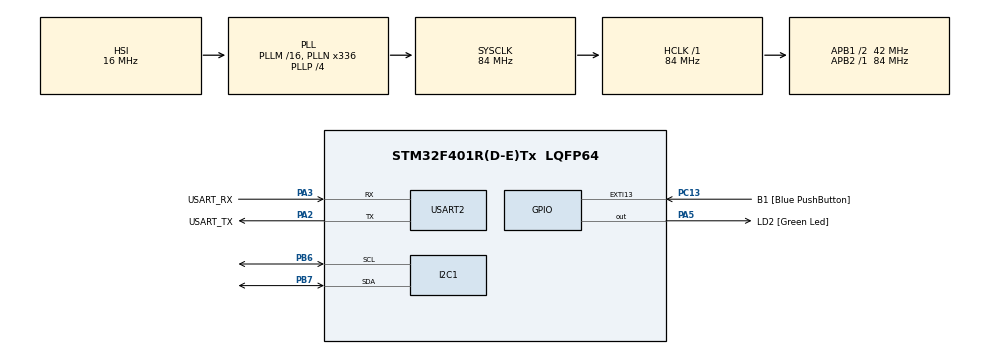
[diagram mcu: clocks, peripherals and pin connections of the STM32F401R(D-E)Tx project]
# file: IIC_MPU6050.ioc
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Mcu.Family=STM32F4
Mcu.Name=STM32F401R(D-E)Tx
Mcu.Package=LQFP64
NVIC.PriorityGroup=NVIC_PRIORITYGROUP_4
PA13.GPIO_Label=TMS
PA13.Mode=Serial_Wire
PA13.Signal=SYS_JTMS-SWDIO
PA14.GPIO_Label=TCK
PA14.Mode=Serial_Wire
PA14.Signal=SYS_JTCK-SWCLK
PA2.GPIO_Label=USART_TX
PA2.GPIO_Mode=GPIO_MODE_AF_PP
PA2.GPIO_PuPd=GPIO_NOPULL
PA2.GPIO_Speed=GPIO_SPEED_FREQ_LOW
PA2.Mode=Asynchronous
PA2.Signal=USART2_TX
PA3.GPIO_Label=USART_RX
PA3.GPIO_Mode=GPIO_MODE_AF_PP
PA3.GPIO_PuPd=GPIO_NOPULL
PA3.GPIO_Speed=GPIO_SPEED_FREQ_LOW
PA3.Mode=Asynchronous
PA3.Signal=USART2_RX
PA5.GPIO_Label=LD2 [Green Led]
PA5.GPIO_Mode=GPIO_MODE_OUTPUT_PP
PA5.GPIO_PuPd=GPIO_NOPULL
PA5.GPIO_Speed=GPIO_SPEED_FREQ_LOW
PA5.Signal=GPIO_Output
PB3.GPIO_Label=SWO
PB3.Signal=SYS_JTDO-SWO
PB6.Mode=I2C
PB6.Signal=I2C1_SCL
PB7.Mode=I2C
PB7.Signal=I2C1_SDA
PC13-ANTI_TAMP.GPIO_Label=B1 [Blue PushButton]
PC13-ANTI_TAMP.GPIO_ModeDefaultEXTI=GPIO_MODE_IT_FALLING
PC13-ANTI_TAMP.GPIO_PuPd=GPIO_NOPULL
PC13-ANTI_TAMP.Signal=GPXTI13
PC14-OSC32_IN.Mode=LSE-External-Oscillator
PC14-OSC32_IN.Signal=RCC_OSC32_IN
PC15-OSC32_OUT.Mode=LSE-External-Oscillator
PC15-OSC32_OUT.Signal=RCC_OSC32_OUT
PH0\ -\ OSC_IN.Mode=HSE-External-Clock-Source
PH0\ -\ OSC_IN.Signal=RCC_OSC_IN
PH1\ -\ OSC_OUT.Mode=HSE-External-Clock-Source
PH1\ -\ OSC_OUT.Signal=RCC_OSC_OUT
ProjectManager.HeapSize=0x200
ProjectManager.StackSize=0x400
ProjectManager.TargetToolchain=STM32CubeIDE
RCC.48MHZClocksFreq_Value=48000000
RCC.AHBFreq_Value=84000000
RCC.APB1CLKDivider=RCC_HCLK_DIV2
RCC.APB1Freq_Value=42000000
RCC.APB1TimFreq_Value=84000000
RCC.APB2Freq_Value=84000000
RCC.APB2TimFreq_Value=84000000
RCC.CortexFreq_Value=84000000
RCC.HCLKFreq_Value=84000000
RCC.HSE_VALUE=8000000
RCC.HSI_VALUE=16000000
RCC.PLLN=336
RCC.PLLP=RCC_PLLP_DIV4
RCC.PLLQ=7
RCC.SYSCLKFreq_VALUE=84000000
RCC.SYSCLKSource=RCC_SYSCLKSOURCE_PLLCLK
RCC.VCOOutputFreq_Value=336000000
TIM1.Period=300
TIM1.Prescaler=839
USART2.VirtualMode=VM_ASYNC
VP_TIM1_VS_ClockSourceINT.Mode=Internal
board=NUCLEO-F401RE

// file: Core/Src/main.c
/* USER CODE BEGIN Header */
/**
  ******************************************************************************
  * @file           : main.c
  * @brief          : Main program body
  ******************************************************************************
  * @attention
  *
  * Copyright (c) 2025 STMicroelectronics.
  * All rights reserved.
  *
  * This software is licensed under terms that can be found in the LICENSE file
  * in the root directory of this software component.
  * If no LICENSE file comes with this software, it is provided AS-IS.
  *
  ******************************************************************************
  */
/* USER CODE END Header */
#include "main.h"
#include "i2c.h"
#include "tim.h"
#include "usart.h"
#include "gpio.h"

/* USER CODE BEGIN Includes */

#include "mpu6050.h"
#include "stdio.h"
#include "string.h"

/* USER CODE END Includes */

/* USER CODE BEGIN PV */

IMUProcessor imu_processor;

char message[100] = "";

float Q = 0.005f;
float R = 0.05f;
float time_interval = 0.006f;

/* USER CODE END PV */

void SystemClock_Config(void);

int main(void)
{

  /* MCU Configuration--------------------------------------------------------*/

  /* Reset of all peripherals, Initializes the Flash interface and the Systick. */
  HAL_Init();

  /* Configure the system clock */
  SystemClock_Config();

  /* Initialize all configured peripherals */
  MX_GPIO_Init();
  MX_USART2_UART_Init();
  MX_I2C1_Init();
  MX_TIM1_Init();
  /* USER CODE BEGIN 2 */

  HAL_TIM_Base_Start_IT(&htim1);

  mpu_init();
  imu_processor_init(&imu_processor, Q, R, time_interval);

  /* USER CODE END 2 */

  /* Infinite loop */
  /* USER CODE BEGIN WHILE */
  while (1)
  {
// Acquire Accelerometer and Gyroscope Data
/*
	  MPU_Get_Accelerometer_Data(&ax_data, &ay_data, &az_data);
	  MPU_Get_Gyroscope_Data(&gx_data, &gy_data, &gz_data);

	  sprintf(message, "gyro: %d,%d,%d;\n accel: %.d,%d,%.d;\n ", gx_data, gy_data, gz_data, ax_data, ay_data, az_data);
	  HAL_UART_Transmit(&huart2, (uint8_t*) message, strlen(message), HAL_MAX_DELAY);

	  HAL_Delay(500);
*/
// Acquire Accelerometer and Gyroscope Value
/*
	  MPU_Get_Gyroscope(&gx, &gy, &gz, gyro_bias);
	  MPU_Get_Accelerometer(&ax, &ay, &az, accel_bias);

	  sprintf(message, "gyro(°/s): %.1f,%.1f,%.1f;\n accel(g): %.1f,%.1f,%.1f;\n ", gx, gy, gz, ax, ay, az);
	  HAL_UART_Transmit(&huart2, (uint8_t*) message, strlen(message), HAL_MAX_DELAY);

	  HAL_Delay(500);
*/
// Acquire Angle Value

	  imu_process(&imu_processor);

	  sprintf(message, "roll:%.1f, pitch:%.1f\n ", imu_processor.roll_processor.x, imu_processor.pitch_processor.x);
	  send_message_to_user(message);

	  HAL_Delay(500);

    /* USER CODE END WHILE */

  }
}

void SystemClock_Config(void)
{
  RCC_OscInitTypeDef RCC_OscInitStruct = {0};
  RCC_ClkInitTypeDef RCC_ClkInitStruct = {0};

  /** Configure the main internal regulator output voltage
  */
  __HAL_RCC_PWR_CLK_ENABLE();
  __HAL_PWR_VOLTAGESCALING_CONFIG(PWR_REGULATOR_VOLTAGE_SCALE2);

  /** Initializes the RCC Oscillators according to the specified parameters
  * in the RCC_OscInitTypeDef structure.
  */
  RCC_OscInitStruct.OscillatorType = RCC_OSCILLATORTYPE_HSI;
  RCC_OscInitStruct.HSIState = RCC_HSI_ON;
  RCC_OscInitStruct.HSICalibrationValue = RCC_HSICALIBRATION_DEFAULT;
  RCC_OscInitStruct.PLL.PLLState = RCC_PLL_ON;
  RCC_OscInitStruct.PLL.PLLSource = RCC_PLLSOURCE_HSI;
  RCC_OscInitStruct.PLL.PLLM = 16;
  RCC_OscInitStruct.PLL.PLLN = 336;
  RCC_OscInitStruct.PLL.PLLP = RCC_PLLP_DIV4;
  RCC_OscInitStruct.PLL.PLLQ = 7;
  if (HAL_RCC_OscConfig(&RCC_OscInitStruct) != HAL_OK)
  {
    Error_Handler();
  }

  /** Initializes the CPU, AHB and APB buses clocks
  */
  RCC_ClkInitStruct.ClockType = RCC_CLOCKTYPE_HCLK|RCC_CLOCKTYPE_SYSCLK
                              |RCC_CLOCKTYPE_PCLK1|RCC_CLOCKTYPE_PCLK2;
  RCC_ClkInitStruct.SYSCLKSource = RCC_SYSCLKSOURCE_PLLCLK;
  RCC_ClkInitStruct.AHBCLKDivider = RCC_SYSCLK_DIV1;
  RCC_ClkInitStruct.APB1CLKDivider = RCC_HCLK_DIV2;
  RCC_ClkInitStruct.APB2CLKDivider = RCC_HCLK_DIV1;

  if (HAL_RCC_ClockConfig(&RCC_ClkInitStruct, FLASH_LATENCY_2) != HAL_OK)
  {
    Error_Handler();
  }
}

void Error_Handler(void)
{
  __disable_irq();
  while (1)
  {
  }
}
